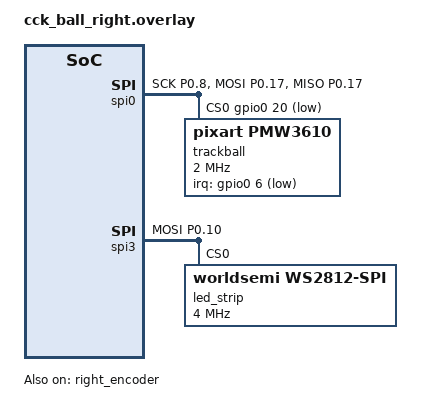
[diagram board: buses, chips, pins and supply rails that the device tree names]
/*
 * Copyright (c) 2020 ZMK Contributors
 *
 * SPDX-License-Identifier: MIT
 */
 
#include "cck_ball.dtsi"

&default_transform {
    col-offset = <6>;
}; 

&kscan0 {
	col-gpios
		= <&gpio1 15 GPIO_ACTIVE_HIGH>
        , <&gpio0 9 GPIO_ACTIVE_HIGH>
        , <&gpio0 10 GPIO_ACTIVE_HIGH>
        , <&gpio1 11 GPIO_ACTIVE_HIGH>
        , <&gpio1 4 GPIO_ACTIVE_HIGH>
        , <&gpio1 6 GPIO_ACTIVE_HIGH>
		;
};

// trackball
&pinctrl {
    spi0_default: spi0_default {
        group1 {
            psels = <NRF_PSEL(SPIM_SCK, 0, 8)>,
                <NRF_PSEL(SPIM_MOSI, 0, 17)>,
                <NRF_PSEL(SPIM_MISO, 0, 17)>;
        };
    };

    spi0_sleep: spi0_sleep {
        group1 {
            psels = <NRF_PSEL(SPIM_SCK, 0, 8)>,
                <NRF_PSEL(SPIM_MOSI, 0, 17)>,
                <NRF_PSEL(SPIM_MISO, 0, 17)>;
            low-power-enable;
        };
    };
};

&spi0 {
    status = "okay";
    compatible = "nordic,nrf-spim";
    pinctrl-0 = <&spi0_default>;
    pinctrl-1 = <&spi0_sleep>;
    pinctrl-names = "default", "sleep";
    cs-gpios = <&gpio0 20 GPIO_ACTIVE_LOW>;

    trackball: trackball@0 {
        status = "okay";
        compatible = "pixart,pmw3610";
        reg = <0>;
        spi-max-frequency = <2000000>;
        irq-gpios = <&gpio0 6 (GPIO_ACTIVE_LOW | GPIO_PULL_UP)>;
        scroll-layers = <3>;
        snipe-layers = <4>;
      // automouse-layer = <3>;
    };
};


//RGB bus
&pinctrl {
    spi3_default: spi3_default {
        group1 {
            psels = <NRF_PSEL(SPIM_MOSI, 0, 10)>;
        };
    };

    spi3_sleep: spi3_sleep {
        group1 {
            psels = <NRF_PSEL(SPIM_MOSI, 0, 10)>;
            low-power-enable;
        };
    };
};

&spi3 {
    compatible = "nordic,nrf-spim";
    status = "okay";

    pinctrl-0 = <&spi3_default>;
    pinctrl-1 = <&spi3_sleep>;
    pinctrl-names = "default", "sleep";

    led_strip: ws2812@0 {
        compatible = "worldsemi,ws2812-spi";

        /* SPI */
        reg = <0>; /* ignored, but necessary for SPI bindings */
        spi-max-frequency = <4000000>;

        /* WS2812 */
        chain-length = <27>; /* number of LEDs */
        spi-one-frame = <0x70>;
        spi-zero-frame = <0x40>;
        color-mapping = <LED_COLOR_ID_GREEN
                         LED_COLOR_ID_RED
                         LED_COLOR_ID_BLUE>;
    };
};



/ {
    trackball_listener {
        compatible = "zmk,input-listener";
        device = <&trackball>;
    };
};

// enable right encoder
&right_encoder {
	status = "okay";
};

// 右側はLANG2を使用
&keymap {
    QWERTY {
        bindings = <
&kp ESC              &kp N1         &kp N2            &kp N3            &kp N4     &kp N5           &kp N6     &kp N7     &kp N8       &kp N9          &kp N0          &kp MINUS
&kp TAB              &kp Q          &kp W             &kp E             &kp R      &kp T            &kp Y      &kp U      &kp I        &kp O           &kp P           &kp LEFT_BRACKET
&lt 1 RIGHT_CONTROL  &kp A          &kp S             &kp D             &kp F      &kp G            &kp H      &kp J      &kp K        &kp L           &kp SEMI        &kp RIGHT_BRACKET
&kp LEFT_SHIFT       &kp Z          &kp X             &kp C             &kp V      &kp B            &kp N      &kp M      &kp COMMA    &kp DOT         &kp UP_ARROW    &kp FSLH
&kp LEFT_CONTROL     &kp RIGHT_ALT  &kp LGUI  &lt 1 LANGUAGE_1  &kp SPACE  &lt 3 BACKSPACE  &mkp LCLK  &kp ENTER  &lt 1 LANG2  &kp LEFT_ARROW  &kp DOWN_ARROW  &kp RIGHT_ARROW
        >;
    };
};

